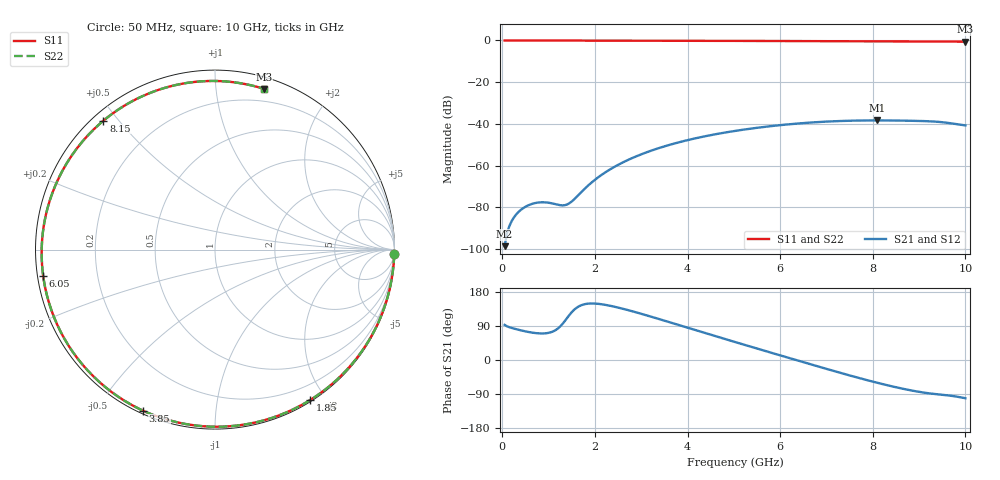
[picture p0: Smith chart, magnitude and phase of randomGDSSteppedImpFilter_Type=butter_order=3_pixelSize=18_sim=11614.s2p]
! freq	dB(S11)	phase(S11)	dB(S12)	phase(S12)
!  dB(S21)	phase(S21)	dB(S22)	phase(S22)
!S-par simulation data
#  GHz  S  DB  R 50
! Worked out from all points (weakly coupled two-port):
!   200 points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, 50 MHz to 10 GHz, reference 50 ohm
!   highest |S21| = -38.32 dB at 8.1 GHz (marker M1); lowest = -98.6 dB at 50 MHz (marker M2)
!   lowest |S11| = -0.6 dB at 10 GHz (marker M3), VSWR 30.34, Z = 4.65 + j67.3 ohm
!   |S11| at or under -10 dB: nowhere
!   |S22| runs from -0.6 to 0.0 dB; largest |S21 - S12| = 0
!   S11 on the Smith chart (normalised r, x): 50 MHz: 1, -74; 1.85 GHz: 0.02, -1.81; 3.85 GHz: 0.01, -0.65; 6.05 GHz: 0.02, -0.08; 8.15 GHz: 0.03, +0.46; 10 GHz: 0.09, +1.35
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0.05  -0.00 -1.6  -98.58 92.7  -98.58 92.7  -0.00 -1.6
0.45  -0.02 -14.4  -80.38 76.8  -80.38 76.8  -0.02 -14.4
0.85  -0.03 -27.1  -77.55 70.0  -77.55 70.0  -0.03 -27.1
1.35  -0.05 -42.6  -78.95 102.8  -78.95 102.8  -0.05 -42.6
1.5  -0.06 -47.2  -77.16 126.3  -77.16 126.3  -0.06 -47.2
1.75  -0.07 -54.8  -71.69 146.4  -71.69 146.4  -0.07 -54.8
1.85  -0.07 -57.8  -69.60 148.7  -69.60 148.7  -0.07 -57.8
2.15  -0.08 -66.7  -64.31 147.0  -64.31 147.0  -0.08 -66.7
2.5  -0.10 -76.9  -59.61 138.4  -59.61 138.4  -0.10 -76.9
2.9  -0.11 -88.2  -55.46 125.4  -55.46 125.4  -0.11 -88.2
3.4  -0.13 -102.0  -51.44 107.6  -51.44 107.6  -0.13 -102.1
3.85  -0.15 -114.2  -48.59 90.9  -48.59 90.9  -0.15 -114.2
4.4  -0.18 -128.7  -45.81 70.5  -45.81 70.5  -0.18 -128.7
5.05  -0.21 -145.5  -43.27 46.6  -43.27 46.6  -0.21 -145.5
6.05  -0.28 -171.4  -40.47 10.4  -40.47 10.4  -0.28 -171.4
6.7  -0.33 171.5  -39.28 -12.8  -39.28 -12.8  -0.33 171.5
7.4  -0.38 152.4  -38.53 -37.3  -38.53 -37.3  -0.38 152.4
8.1  -0.44 132.3  -38.32 -60.2  -38.32 -60.2  -0.44 132.3
8.15  -0.45 130.9  -38.32 -61.7  -38.32 -61.7  -0.45 130.9
8.35  -0.46 124.9  -38.34 -67.7  -38.34 -67.7  -0.46 124.9
9.2  -0.52 98.8  -38.72 -87.7  -38.72 -87.7  -0.52 98.8
10  -0.57 73.0  -40.71 -100.9  -40.71 -100.9  -0.57 73.0
